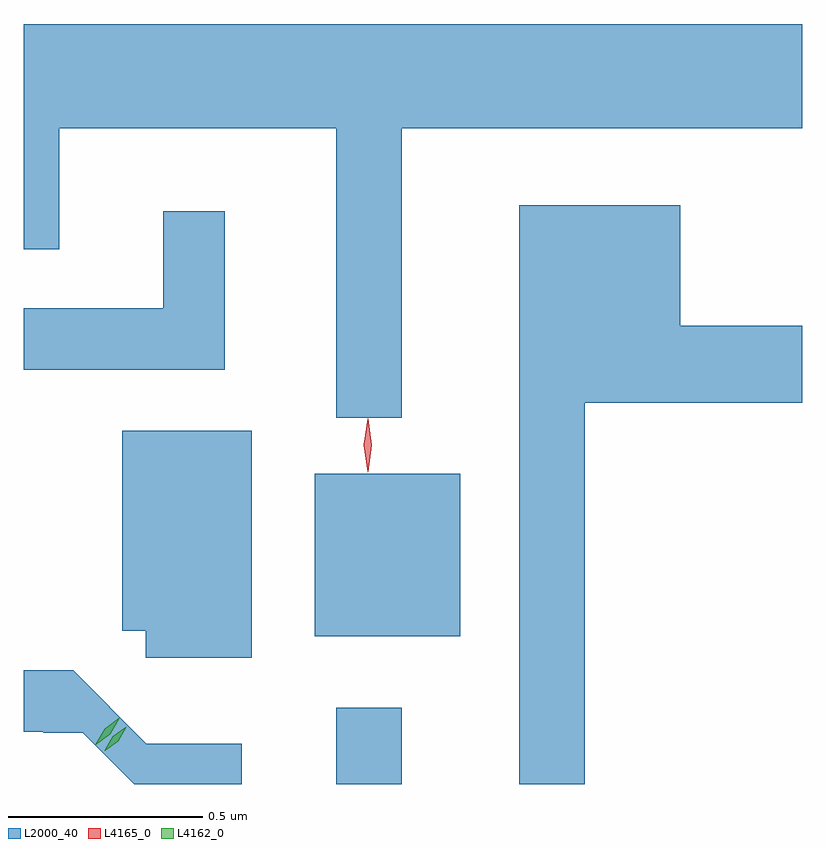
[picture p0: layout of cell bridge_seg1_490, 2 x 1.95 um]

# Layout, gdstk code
import gdstk
lib = gdstk.Library(unit=1e-6, precision=1e-09)
def R(c, l, rs):  # rectangles x0, y0, x1, y1
    for r in rs: c.add(gdstk.rectangle(r[:2], r[2:], *l))
def P(c, l, *ps):  # polygons
    for p in ps: c.add(gdstk.Polygon(p, *l))
L2000_40 = (2000, 40)
L4162_0 = (4162, 0)
L4165_0 = (4165, 0)

bridge_seg1_490 = lib.new_cell('bridge_seg1_490')
R(bridge_seg1_490, L2000_40, [(198.331,864.592,198.499,864.788), (198.276,864.971,198.649,865.389)])
P(bridge_seg1_490, L2000_40, [(198.499,866.276),(199.528,866.276),(199.528,866.544),(197.528,866.544),(197.528,865.966),(197.619,865.966),(197.619,866.276),(198.331,866.276),(198.331,865.533),(198.499,865.533)],
  [(198.969,865.571),(199.528,865.571),(199.528,865.769),(199.214,865.769),(199.214,866.079),(198.801,866.079),(198.801,864.592),(198.969,864.592)],
  [(198.044,866.063),(197.886,866.063),(197.886,865.814),(197.528,865.814),(197.528,865.656),(198.044,865.656)],
  [(198.114,865.499),(197.781,865.499),(197.781,864.986),(197.841,864.986),(197.841,864.916),(198.114,864.916)],
  [(198.088,864.696),(197.843,864.696),(197.655,864.884),(197.528,864.884),(197.528,864.726),(197.578,864.726),(197.578,864.724),(197.68,864.724),(197.812,864.592),(198.088,864.592)])
P(bridge_seg1_490, L4162_0, [(197.736,864.678),(197.736,864.679),(197.757,864.715),(197.791,864.739),(197.792,864.739),(197.792,864.738),(197.771,864.702),(197.737,864.678)],
  [(197.712,864.692),(197.712,864.693),(197.736,864.734),(197.774,864.762),(197.775,864.762),(197.775,864.762),(197.751,864.72),(197.712,864.692)])
P(bridge_seg1_490, L4165_0, [(198.412,865.398),(198.412,865.399),(198.402,865.463),(198.412,865.527),(198.412,865.527),(198.413,865.527),(198.422,865.463),(198.413,865.399)],
  [(198.412,865.393),(198.412,865.394),(198.402,865.462),(198.412,865.53),(198.412,865.53),(198.413,865.53),(198.422,865.462),(198.413,865.394)])

lib.write_gds('bridge_seg1_490.gds')
